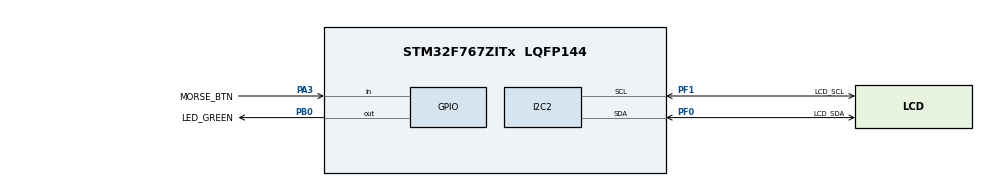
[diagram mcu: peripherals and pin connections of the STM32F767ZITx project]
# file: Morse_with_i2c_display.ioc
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CORTEX_M7.default_mode_Activation=1
Mcu.Family=STM32F7
Mcu.Name=STM32F767ZITx
Mcu.Package=LQFP144
NVIC.PriorityGroup=NVIC_PRIORITYGROUP_4
PA3.GPIO_Label=MORSE_BTN
PA3.GPIO_PuPd=GPIO_PULLUP
PA3.Signal=GPIO_Input
PB0.GPIO_Label=LED_GREEN
PB0.Signal=GPIO_Output
PF0.GPIO_Label=LCD_SDA
PF0.Mode=I2C
PF0.Signal=I2C2_SDA
PF1.GPIO_Label=LCD_SCL
PF1.Mode=I2C
PF1.Signal=I2C2_SCL
ProjectManager.HeapSize=0x200
ProjectManager.StackSize=0x400
ProjectManager.TargetToolchain=CMake
RCC.HSE_VALUE=25000000
RCC.HSI_VALUE=16000000
RCC.LSE_VALUE=32768
RCC.USBFreq_Value=96000000
RCC.VCOOutputFreq_Value=192000000
board=custom

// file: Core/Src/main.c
/* USER CODE BEGIN Header */
/**
 ******************************************************************************
 * @file           : main.c
 * @brief          : Main program body
 ******************************************************************************
 * @attention
 *
 * Copyright (c) 2026 STMicroelectronics.
 * All rights reserved.
 *
 * This software is licensed under terms that can be found in the LICENSE file
 * in the root directory of this software component.
 * If no LICENSE file comes with this software, it is provided AS-IS.
 *
 ******************************************************************************
 */
/* USER CODE END Header */
#include "main.h"

/* USER CODE BEGIN Includes */

#include <string.h>

/* USER CODE END Includes */

/* USER CODE BEGIN PTD */

typedef struct
{
    const char* code;
    char symbol;
} MorseEntry;

/* USER CODE END PTD */

/* USER CODE BEGIN PD */

#define MORSE_UNIT_MS          200U
#define DEBOUNCE_MS             25U

#define DOT_DASH_LIMIT_MS      (2U * MORSE_UNIT_MS)
#define LETTER_PAUSE_MS        (3U * MORSE_UNIT_MS)
#define WORD_PAUSE_MS          (7U * MORSE_UNIT_MS)

#define MORSE_BUFFER_SIZE 6U
#define TEXT_BUFFER_SIZE  32U

#define LCD_ADDR  0x4E           // адреса дисплея

#define LCD_PIN_RS      (1 << 0) // P0
#define LCD_PIN_RW      (0 << 1) // P1 (завжди 0 - запис)
#define LCD_PIN_EN      (1 << 2) // P2
#define LCD_BACKLIGHT   (1 << 3) // P3 (підсвітка увімкнена)

/* USER CODE END PD */

I2C_HandleTypeDef hi2c2;

/* USER CODE BEGIN PV */

uint32_t press_start;
uint32_t release_time;
uint32_t press_duration;
uint32_t last_change_time;

GPIO_PinState raw_state;
GPIO_PinState last_raw_state;
GPIO_PinState stable_state;

uint8_t word_space_pending;
uint8_t symbol_pending;

char morse_buffer[6];
uint8_t morse_length;

char text_buffer[TEXT_BUFFER_SIZE];
uint8_t text_length;

uint8_t morse_overflow;

/* USER CODE END PV */

void SystemClock_Config(void);
static void MPU_Config(void);
static void MX_GPIO_Init(void);
static void MX_I2C2_Init(void);
/* USER CODE BEGIN PFP */

static char Morse_Decode(const char* code);

/* USER CODE END PFP */

/* USER CODE BEGIN 0 */

void LCD_Write_Nibble(uint8_t nibble, uint8_t flags)
{
    // Маска: беремо старші 4 біти + підсвітка + прапорець RS
    uint8_t data = (nibble & 0xF0) | LCD_BACKLIGHT | flags;
    uint8_t buffer[2];

    buffer[0] = data | LCD_PIN_EN;
    buffer[1] = data;

    HAL_I2C_Master_Transmit(&hi2c2, LCD_ADDR, buffer, 2, 50);
}

void LCD_SendCommand(uint8_t cmd)
{
    LCD_Write_Nibble(cmd & 0xF0, 0);
    LCD_Write_Nibble((cmd << 4) & 0xF0, 0);
    HAL_Delay(2);
}

void LCD_SendData(uint8_t data)
{
    LCD_Write_Nibble(data & 0xF0, LCD_PIN_RS);
    LCD_Write_Nibble((data << 4) & 0xF0, LCD_PIN_RS);
    HAL_Delay(1);
}

void LCD_Init(void)
{
    // 1. Чекаємо мінімум 40 мс після подачі живлення на стабілізацію LCD
    HAL_Delay(50);

    // 2. Послідовність переведення в 4-бітний режим згідно з даташитом HD44780
    LCD_Write_Nibble(0x30, 0);
    HAL_Delay(5);
    LCD_Write_Nibble(0x30, 0);
    HAL_Delay(1);
    LCD_Write_Nibble(0x30, 0);
    HAL_Delay(10);

    // Перемикаємо шину дисплея на 4-бітний інтерфейс
    LCD_Write_Nibble(0x20, 0);
    HAL_Delay(10);

    // 3. Тепер дисплей сприймає звичайні команди через LCD_SendCommand
    LCD_SendCommand(0x28); // 4-бітний режим, 2 рядки, шрифт 5x8
    LCD_SendCommand(0x0C); // Увімкнути дисплей, курсор сховати (Display ON, Cursor OFF)
    LCD_SendCommand(0x01); // Очистити весь екран (Clear display)
    HAL_Delay(2);
    LCD_SendCommand(0x06); // Режим автоінкременту курсора (курсор зсувається вправо)
}

void LCD_Print(const char *str)
{
    while (*str)
    {
        LCD_SendData((uint8_t)(*str++));
    }
}

static const MorseEntry morse_table[] =
{
    {".-", 'A'},
    {"-...", 'B'},
    {"-.-.", 'C'},
    {"-..", 'D'},
    {".", 'E'},
    {"..-.", 'F'},
    {"--.", 'G'},
    {"....", 'H'},
    {"..", 'I'},
    {".---", 'J'},
    {"-.-", 'K'},
    {".-..", 'L'},
    {"--", 'M'},
    {"-.", 'N'},
    {"---", 'O'},
    {".--.", 'P'},
    {"--.-", 'Q'},
    {".-.", 'R'},
    {"...", 'S'},
    {"-", 'T'},
    {"..-", 'U'},
    {"...-", 'V'},
    {".--", 'W'},
    {"-..-", 'X'},
    {"-.--", 'Y'},
    {"--..", 'Z'},

    {"-----", '0'},
    {".----", '1'},
    {"..---", '2'},
    {"...--", '3'},
    {"....-", '4'},
    {".....", '5'},
    {"-....", '6'},
    {"--...", '7'},
    {"---..", '8'},
    {"----.", '9'}
};

/* USER CODE END 0 */

int main(void)
{

    /* MPU Configuration--------------------------------------------------------*/
    MPU_Config();

    /* MCU Configuration--------------------------------------------------------*/

    /* Reset of all peripherals, Initializes the Flash interface and the Systick. */
    HAL_Init();

    /* Configure the system clock */
    SystemClock_Config();

    /* Initialize all configured peripherals */
    MX_GPIO_Init();
    MX_I2C2_Init();
    /* USER CODE BEGIN 2 */

    LCD_Init();
    LCD_Print("Morse Ready!");

    last_raw_state = HAL_GPIO_ReadPin(
        MORSE_BTN_GPIO_Port,
        MORSE_BTN_Pin);

    stable_state = last_raw_state;
    last_change_time = HAL_GetTick();

    morse_length = 0;
    morse_buffer[0] = '\0';

    symbol_pending = 0;
    word_space_pending = 0;

    release_time = HAL_GetTick();

    text_length = 0;
    text_buffer[0] = '\0';

    morse_overflow = 0;
    /* USER CODE END 2 */

    /* Infinite loop */
    /* USER CODE BEGIN WHILE */

    while (1)
    {
        uint32_t now = HAL_GetTick();

        raw_state = HAL_GPIO_ReadPin(
            MORSE_BTN_GPIO_Port,
            MORSE_BTN_Pin);

        if (raw_state != last_raw_state)
        {
            last_raw_state = raw_state;
            last_change_time = now;
        }

        if ((now - last_change_time >= DEBOUNCE_MS)
            && (raw_state != stable_state))
        {
            stable_state = raw_state;

            if (stable_state == GPIO_PIN_RESET)
            {
                press_start = now;

                word_space_pending = 0;

                HAL_GPIO_WritePin(LED_GREEN_GPIO_Port, LED_GREEN_Pin, GPIO_PIN_SET);
            }
            else
            {
                HAL_GPIO_WritePin(LED_GREEN_GPIO_Port, LED_GREEN_Pin, GPIO_PIN_RESET);

                press_duration = now - press_start;

                if (press_duration >= DEBOUNCE_MS)
                {
                    if (morse_length < MORSE_BUFFER_SIZE - 1U)
                    {
                        if (press_duration < DOT_DASH_LIMIT_MS)
                        {
                            morse_buffer[morse_length] = '.';
                        }
                        else
                        {
                            morse_buffer[morse_length] = '-';
                        }

                        morse_length++;
                        morse_buffer[morse_length] = '\0';
                    }
                    else
                    {
                        morse_overflow = 1;
                    }

                    release_time = now;
                    symbol_pending = 1;
                    word_space_pending = 0;
                }
            }
        }

        if (stable_state == GPIO_PIN_SET)
        {
            uint32_t silence_duration = now - release_time;

            if (symbol_pending && silence_duration >= LETTER_PAUSE_MS)
            {
                char decoded_symbol;

                if (morse_overflow)
                {
                    decoded_symbol = '?';
                }
                else
                {
                    decoded_symbol = Morse_Decode(morse_buffer);
                }

                if (text_length < TEXT_BUFFER_SIZE - 1U)
                {
                    text_buffer[text_length] = decoded_symbol;
                    text_length++;
                    text_buffer[text_length] = '\0';
                }

                morse_length = 0;
                morse_buffer[0] = '\0';

                morse_overflow = 0;
                symbol_pending = 0;
                word_space_pending = 1;
            }

            if (word_space_pending && silence_duration >= WORD_PAUSE_MS)
            {
                if (text_length > 0 &&
                    text_length < TEXT_BUFFER_SIZE - 1U &&
                    text_buffer[text_length - 1U] != ' ')
                {
                    text_buffer[text_length] = ' ';
                    text_length++;

                    text_buffer[text_length] = '\0';
                }
                word_space_pending = 0;
            }
        }

        /* USER CODE END WHILE */

    }
}

void SystemClock_Config(void)
{
    RCC_OscInitTypeDef RCC_OscInitStruct = {0};
    RCC_ClkInitTypeDef RCC_ClkInitStruct = {0};

    /** Configure the main internal regulator output voltage
    */
    __HAL_RCC_PWR_CLK_ENABLE();
    __HAL_PWR_VOLTAGESCALING_CONFIG(PWR_REGULATOR_VOLTAGE_SCALE3);

    /** Initializes the RCC Oscillators according to the specified parameters
    * in the RCC_OscInitTypeDef structure.
    */
    RCC_OscInitStruct.OscillatorType = RCC_OSCILLATORTYPE_HSI;
    RCC_OscInitStruct.HSIState = RCC_HSI_ON;
    RCC_OscInitStruct.HSICalibrationValue = RCC_HSICALIBRATION_DEFAULT;
    RCC_OscInitStruct.PLL.PLLState = RCC_PLL_NONE;
    if (HAL_RCC_OscConfig(&RCC_OscInitStruct) != HAL_OK)
    {
        Error_Handler();
    }

    /** Initializes the CPU, AHB and APB buses clocks
    */
    RCC_ClkInitStruct.ClockType = RCC_CLOCKTYPE_HCLK | RCC_CLOCKTYPE_SYSCLK
        | RCC_CLOCKTYPE_PCLK1 | RCC_CLOCKTYPE_PCLK2;
    RCC_ClkInitStruct.SYSCLKSource = RCC_SYSCLKSOURCE_HSI;
    RCC_ClkInitStruct.AHBCLKDivider = RCC_SYSCLK_DIV1;
    RCC_ClkInitStruct.APB1CLKDivider = RCC_HCLK_DIV1;
    RCC_ClkInitStruct.APB2CLKDivider = RCC_HCLK_DIV1;

    if (HAL_RCC_ClockConfig(&RCC_ClkInitStruct, FLASH_LATENCY_0) != HAL_OK)
    {
        Error_Handler();
    }
}

static void MX_I2C2_Init(void)
{

    hi2c2.Instance = I2C2;
    hi2c2.Init.Timing = 0x00303D5B;
    hi2c2.Init.OwnAddress1 = 0;
    hi2c2.Init.AddressingMode = I2C_ADDRESSINGMODE_7BIT;
    hi2c2.Init.DualAddressMode = I2C_DUALADDRESS_DISABLE;
    hi2c2.Init.OwnAddress2 = 0;
    hi2c2.Init.OwnAddress2Masks = I2C_OA2_NOMASK;
    hi2c2.Init.GeneralCallMode = I2C_GENERALCALL_DISABLE;
    hi2c2.Init.NoStretchMode = I2C_NOSTRETCH_DISABLE;
    if (HAL_I2C_Init(&hi2c2) != HAL_OK)
    {
        Error_Handler();
    }

    /** Configure Analogue filter
    */
    if (HAL_I2CEx_ConfigAnalogFilter(&hi2c2, I2C_ANALOGFILTER_ENABLE) != HAL_OK)
    {
        Error_Handler();
    }

    /** Configure Digital filter
    */
    if (HAL_I2CEx_ConfigDigitalFilter(&hi2c2, 0) != HAL_OK)
    {
        Error_Handler();
    }
}

static void MX_GPIO_Init(void)
{
    GPIO_InitTypeDef GPIO_InitStruct = {0};

    /* GPIO Ports Clock Enable */
    __HAL_RCC_GPIOF_CLK_ENABLE();
    __HAL_RCC_GPIOA_CLK_ENABLE();
    __HAL_RCC_GPIOB_CLK_ENABLE();

    /*Configure GPIO pin Output Level */
    HAL_GPIO_WritePin(LED_GREEN_GPIO_Port, LED_GREEN_Pin, GPIO_PIN_RESET);

    /*Configure GPIO pin : MORSE_BTN_Pin */
    GPIO_InitStruct.Pin = MORSE_BTN_Pin;
    GPIO_InitStruct.Mode = GPIO_MODE_INPUT;
    GPIO_InitStruct.Pull = GPIO_PULLUP;
    HAL_GPIO_Init(MORSE_BTN_GPIO_Port, &GPIO_InitStruct);

    /*Configure GPIO pin : LED_GREEN_Pin */
    GPIO_InitStruct.Pin = LED_GREEN_Pin;
    GPIO_InitStruct.Mode = GPIO_MODE_OUTPUT_PP;
    GPIO_InitStruct.Pull = GPIO_NOPULL;
    GPIO_InitStruct.Speed = GPIO_SPEED_FREQ_LOW;
    HAL_GPIO_Init(LED_GREEN_GPIO_Port, &GPIO_InitStruct);

}

/* USER CODE BEGIN 4 */

static char Morse_Decode(const char* code)
{
    uint32_t table_size =
        sizeof(morse_table) / sizeof(morse_table[0]);

    for (uint32_t i = 0; i < table_size; i++)
    {
        if (strcmp(code, morse_table[i].code) == 0)
        {
            return morse_table[i].symbol;
        }
    }

    return '?';
}

/* USER CODE END 4 */

/* MPU Configuration */

void MPU_Config(void)
{
    MPU_Region_InitTypeDef MPU_InitStruct = {0};

    /* Disables the MPU */
    HAL_MPU_Disable();

    /** Initializes and configures the Region and the memory to be protected
    */
    MPU_InitStruct.Enable = MPU_REGION_ENABLE;
    MPU_InitStruct.Number = MPU_REGION_NUMBER0;
    MPU_InitStruct.BaseAddress = 0x0;
    MPU_InitStruct.Size = MPU_REGION_SIZE_4GB;
    MPU_InitStruct.SubRegionDisable = 0x87;
    MPU_InitStruct.TypeExtField = MPU_TEX_LEVEL0;
    MPU_InitStruct.AccessPermission = MPU_REGION_NO_ACCESS;
    MPU_InitStruct.DisableExec = MPU_INSTRUCTION_ACCESS_DISABLE;
    MPU_InitStruct.IsShareable = MPU_ACCESS_SHAREABLE;
    MPU_InitStruct.IsCacheable = MPU_ACCESS_NOT_CACHEABLE;
    MPU_InitStruct.IsBufferable = MPU_ACCESS_NOT_BUFFERABLE;

    HAL_MPU_ConfigRegion(&MPU_InitStruct);
    /* Enables the MPU */
    HAL_MPU_Enable(MPU_PRIVILEGED_DEFAULT);
}

void Error_Handler(void)
{
    __disable_irq();
    while (1)
    {
    }
}
